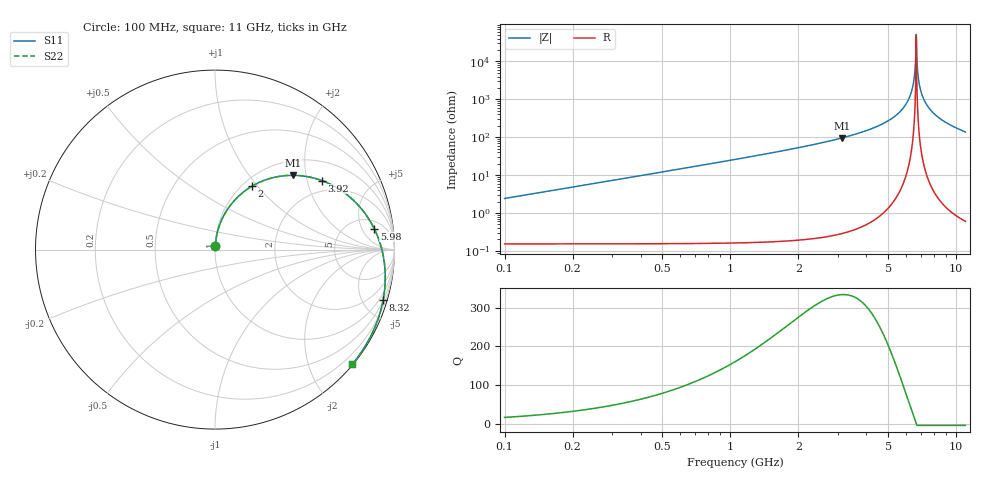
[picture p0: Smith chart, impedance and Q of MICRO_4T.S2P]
! Coilcraft 0906-4 Micro Spring Air Core Inductor
! 16 May 2003
# MHZ S MA R 50
!Freq  MagS11  AngS11  MagS21  AngS21  MagS12  AngS12  MagS22  AngS22
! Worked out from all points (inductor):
!   1091 points, 100 MHz to 11 GHz, reference 50 ohm
!   read as 1/Y11, port 2 shorted: L = 3.83 nH near 150 MHz
!   highest Q = 334 at 3.12 GHz (marker M1), where L = 4.88 nH
!   self-resonance near 6.66 GHz
!   S11 on the Smith chart (normalised r, x): 100 MHz: 1.00, +0.04; 2 GHz: 1.10, +0.94; 3.92 GHz: 1.60, +2.47; 5.98 GHz: 8, +9; 8.32 GHz: 0.54, -6.81; 11 GHz: 0.01, -2.75
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100  0.02152 84.4  0.9982 -1.5  0.9982 -1.5  0.02154 84.4
220  0.04723 84.8  0.9974 -3.4  0.9974 -3.4  0.04726 84.8
320  0.06863 83.9  0.9961 -4.9  0.9961 -4.9  0.06868 83.9
470  0.1006 82.0  0.9934 -7.2  0.9934 -7.2  0.1007 82.0
650  0.1388 79.5  0.9888 -9.9  0.9888 -9.9  0.139 79.5
890  0.1893 76.0  0.9804 -13.5  0.9804 -13.5  0.1894 76.0
1180  0.2492 71.7  0.9669 -17.9  0.9669 -17.9  0.2493 71.7
1520  0.3175 66.7  0.9467 -23.0  0.9467 -23.0  0.3177 66.7
1920  0.3947 60.8  0.9173 -28.9  0.9173 -28.9  0.395 60.8
2000  0.4096 59.7  0.9107 -30.1  0.9107 -30.1  0.4099 59.7
2560  0.5093 51.6  0.859 -38.3  0.859 -38.3  0.5096 51.6
3120  0.5992 43.7  0.7989 -46.2  0.7989 -46.2  0.5996 43.7
3740  0.6863 35.2  0.7254 -54.7  0.7254 -54.7  0.6868 35.2
3920  0.7091 32.8  0.7031 -57.1  0.7031 -57.1  0.7096 32.8
4670  0.7922 23.1  0.608 -66.7  0.608 -66.7  0.7927 23.1
5550  0.8664 12.4  0.4964 -77.4  0.4964 -77.4  0.867 12.4
5980  0.8944 7.5  0.4437 -82.3  0.4437 -82.3  0.8951 7.5
7370  0.9555 -7.4  0.2885 -97.1  0.2885 -97.1  0.9562 -7.4
8320  0.9777 -16.6  0.1996 -106.1  0.1996 -106.1  0.9784 -16.6
9190  0.9889 -24.5  0.1321 -113.7  0.1321 -113.7  0.9895 -24.5
10170  0.9948 -33.0  0.07237 -121.4  0.07237 -121.4  0.9954 -33.0
11000  0.9965 -39.9  0.03547 -126.4  0.03547 -126.4  0.9971 -39.9
